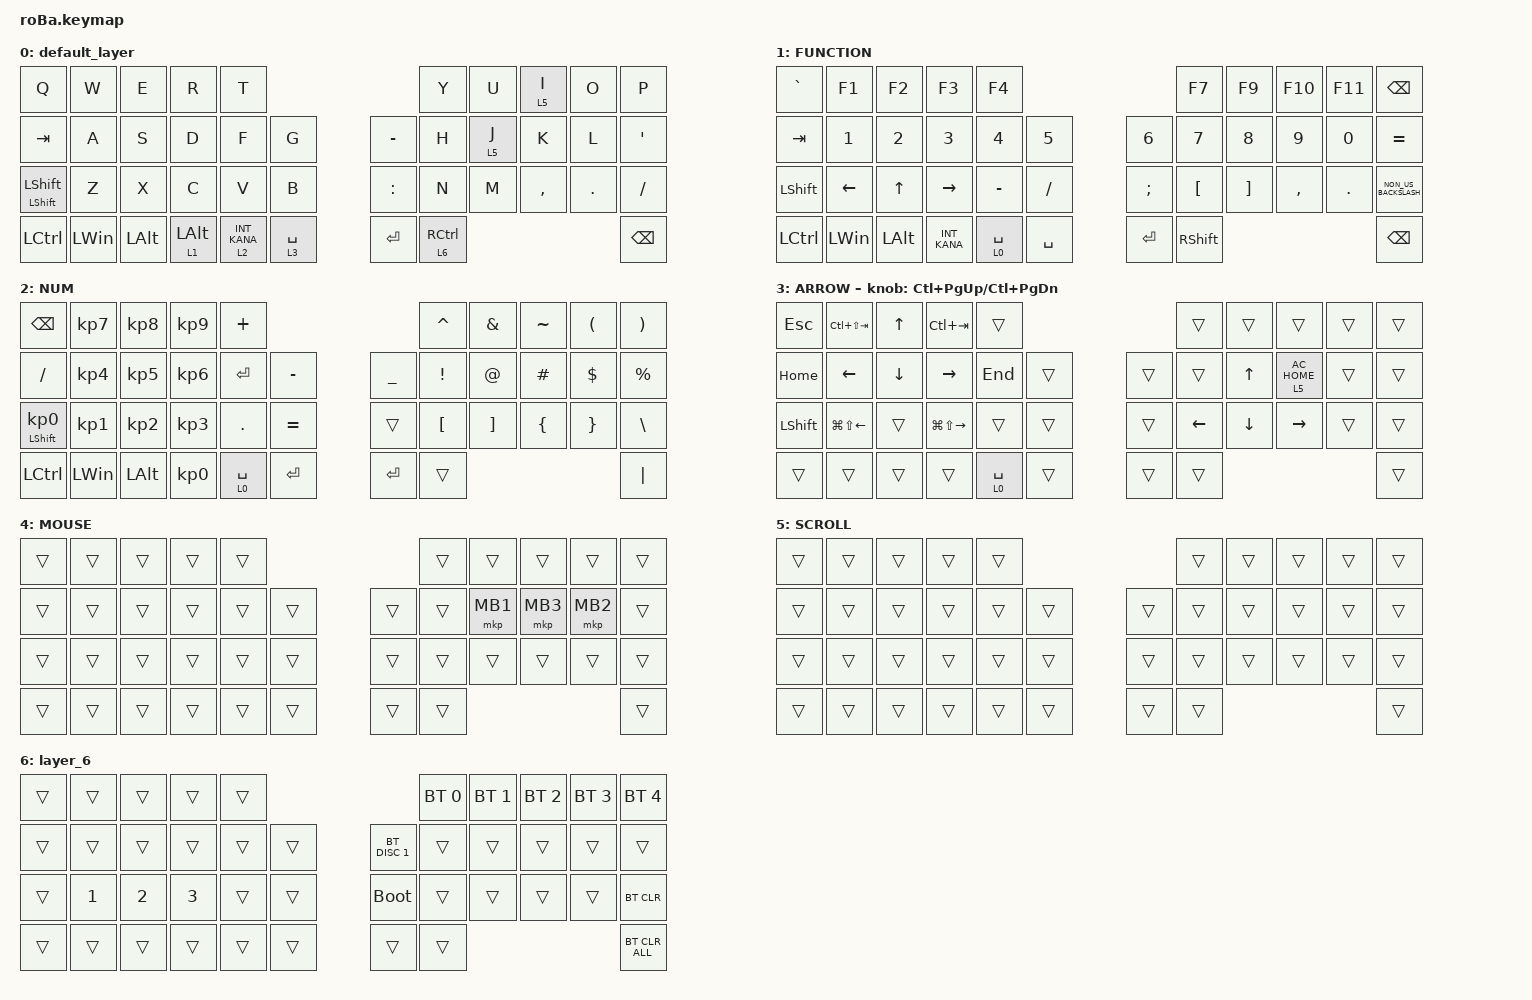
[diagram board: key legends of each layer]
#include <behaviors.dtsi>
#include <dt-bindings/zmk/bt.h>
#include <dt-bindings/zmk/keys.h>
#include <dt-bindings/zmk/pointing.h>

&mt {
    flavor = "balanced";
    quick-tap-ms = <0>;
};

&trackball {
    automouse-layer = <4>;
    scroll-layers = <5>;

    // arrows {
    //     layers = <3>;
    //     bindings =
    //         <&kp RIGHT_ARROW>,
    //         <&kp LEFT_ARROW>,
    //         <&kp UP_ARROW>,
    //         <&kp DOWN_ARROW>;
    //     tick = <10>;
    //     wait-ms = <5>;
    //     tap-ms = <5>;
    // };
};

/ {
    combos {
        compatible = "zmk,combos";

        tab {
            bindings = <&kp TAB>;
            key-positions = <11 12>;
        };

        shift_tab {
            bindings = <&kp LS(TAB)>;
            key-positions = <12 13>;
        };

        muhennkann {
            bindings = <&to_layer_0 INT_MUHENKAN>;
            key-positions = <11 10>;
        };

        double_quotation {
            bindings = <&kp DOUBLE_QUOTES>;
            key-positions = <20 21>;
        };

        eq {
            bindings = <&kp EQUAL>;
            key-positions = <24 25>;
        };
    };

    macros {
        to_layer_0: to_layer_0 {
            compatible = "zmk,behavior-macro-one-param";
            #binding-cells = <1>;
            bindings = <&to 1 &macro_param_1to1 &kp MACRO_PLACEHOLDER>;
            label = "TO_LAYER_0";
        };
    };

    behaviors {
        lt_to_layer_0: lt_to_layer_0 {
            compatible = "zmk,behavior-hold-tap";
            label = "LAYER_TAP_TO_0";
            bindings = <&mo>, <&to_layer_0>;

            #binding-cells = <2>;
            tapping-term-ms = <200>;
        };
    };

    keymap {
        compatible = "zmk,keymap";

        default_layer {
            bindings = <
&kp Q                      &kp W         &kp E         &kp R           &kp T                                                  &kp Y                &kp U    &lt 5 I    &kp O    &kp P
&kp TAB                    &kp A         &kp S         &kp D           &kp F           &kp G                       &kp MINUS  &kp H                &lt 5 J  &kp K      &kp L    &kp SQT
&mt LEFT_SHIFT LEFT_SHIFT  &kp Z         &kp X         &kp C           &kp V           &kp B                       &kp COLON  &kp N                &kp M    &kp COMMA  &kp DOT  &kp SLASH
&kp LCTRL                  &kp LEFT_WIN  &kp LEFT_ALT  &lt 1 LEFT_ALT  &lt 2 INT_KANA  &lt_to_layer_0 3 SPACE      &kp ENTER  &lt 6 RIGHT_CONTROL                               &kp BACKSPACE
            >;
        };

        FUNCTION {
            bindings = <
&kp GRAVE         &kp F1        &kp F2        &kp F3        &kp F4                                                &kp F7            &kp F9             &kp F10    &kp F11     &kp BACKSPACE
&kp TAB           &kp N1        &kp N2        &kp NUMBER_3  &kp N4                  &kp N5         &kp N6         &kp N7            &kp N8             &kp N9     &kp N0      &kp EQUAL
&kp LEFT_SHIFT    &kp LEFT      &kp UP_ARROW  &kp RIGHT     &kp MINUS               &kp SLASH      &kp SEMICOLON  &kp LEFT_BRACKET  &kp RIGHT_BRACKET  &kp COMMA  &kp PERIOD  &kp NON_US_BACKSLASH
&kp LEFT_CONTROL  &kp LEFT_WIN  &kp LEFT_ALT  &kp INT_KANA  &lt_to_layer_0 0 SPACE  &kp SPACE      &kp ENTER      &kp RIGHT_SHIFT                                             &kp BACKSPACE
            >;
        };

        NUM {
            bindings = <
&kp BACKSPACE               &kp KP_NUMBER_7  &kp KP_NUMBER_8  &kp KP_NUMBER_9  &kp PLUS                                               &kp CARET         &kp AMPERSAND      &kp TILDE       &kp LEFT_PARENTHESIS  &kp RIGHT_PARENTHESIS
&kp SLASH                   &kp KP_NUMBER_4  &kp KP_NUMBER_5  &kp KP_NUMBER_6  &kp ENTER               &kp MINUS      &kp UNDERSCORE  &kp EXCLAMATION   &kp AT_SIGN        &kp HASH        &kp DOLLAR            &kp PERCENT
&mt LEFT_SHIFT KP_NUMBER_0  &kp KP_NUMBER_1  &kp KP_NUMBER_2  &kp KP_NUMBER_3  &kp PERIOD              &kp EQUAL      &trans          &kp LEFT_BRACKET  &kp RIGHT_BRACKET  &kp LEFT_BRACE  &kp RIGHT_BRACE       &kp BACKSLASH
&kp LEFT_CONTROL            &kp LWIN         &kp LEFT_ALT     &kp KP_NUMBER_0  &lt_to_layer_0 0 SPACE  &kp ENTER      &kp ENTER       &trans                                                                     &kp PIPE
            >;
        };

        ARROW {
            bindings = <
&kp ESCAPE      &kp LC(LS(TAB))         &kp UP_ARROW    &kp LC(TAB)              &trans                                      &trans          &trans          &trans           &trans  &trans
&kp HOME        &kp LEFT_ARROW          &kp DOWN_ARROW  &kp RIGHT_ARROW          &kp END                 &trans      &trans  &trans          &kp UP_ARROW    &lt 5 C_AC_HOME  &trans  &trans
&kp LEFT_SHIFT  &kp LG(LS(LEFT_ARROW))  &trans          &kp LG(LS(RIGHT_ARROW))  &trans                  &trans      &trans  &kp LEFT_ARROW  &kp DOWN_ARROW  &kp RIGHT_ARROW  &trans  &trans
&trans          &trans                  &trans          &trans                   &lt_to_layer_0 0 SPACE  &trans      &trans  &trans                                                   &trans
            >;

            sensor-bindings = <&inc_dec_kp LC(PAGE_UP) LC(PAGE_DOWN)>;
        };

        MOUSE {
            bindings = <
&trans  &trans  &trans  &trans  &trans                      &trans  &trans    &trans    &trans    &trans
&trans  &trans  &trans  &trans  &trans  &trans      &trans  &trans  &mkp MB1  &mkp MB3  &mkp MB2  &trans
&trans  &trans  &trans  &trans  &trans  &trans      &trans  &trans  &trans    &trans    &trans    &trans
&trans  &trans  &trans  &trans  &trans  &trans      &trans  &trans                                &trans
            >;
        };

        SCROLL {
            bindings = <
&trans  &trans  &trans  &trans  &trans                      &trans  &trans  &trans  &trans  &trans
&trans  &trans  &trans  &trans  &trans  &trans      &trans  &trans  &trans  &trans  &trans  &trans
&trans  &trans  &trans  &trans  &trans  &trans      &trans  &trans  &trans  &trans  &trans  &trans
&trans  &trans  &trans  &trans  &trans  &trans      &trans  &trans                          &trans
            >;
        };

        layer_6 {
            bindings = <
&trans  &trans        &trans        &trans        &trans                             &bt BT_SEL 0  &bt BT_SEL 1  &bt BT_SEL 2  &bt BT_SEL 3  &bt BT_SEL 4
&trans  &trans        &trans        &trans        &trans  &trans      &bt BT_DISC 1  &trans        &trans        &trans        &trans        &trans
&trans  &kp NUMBER_1  &kp NUMBER_2  &kp NUMBER_3  &trans  &trans      &bootloader    &trans        &trans        &trans        &trans        &bt BT_CLR
&trans  &trans        &trans        &trans        &trans  &trans      &trans         &trans                                                  &bt BT_CLR_ALL
            >;
        };
    };
};
